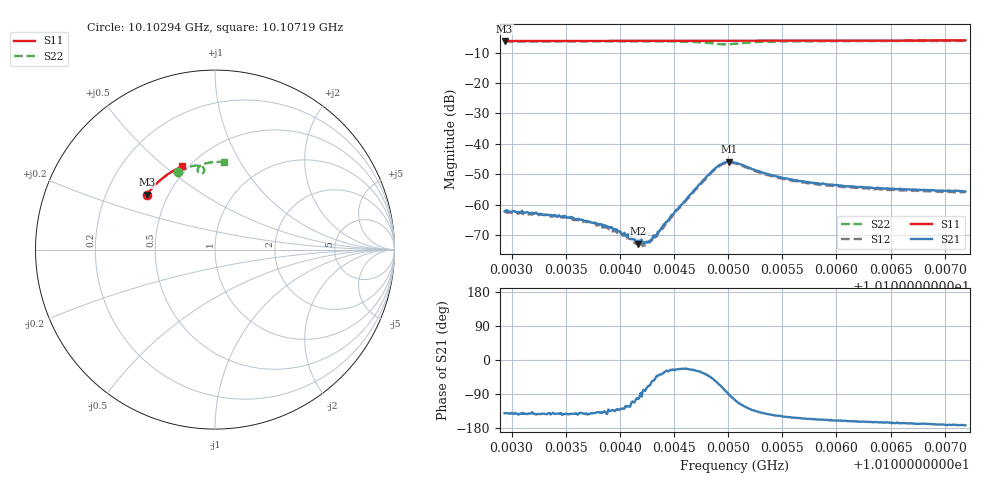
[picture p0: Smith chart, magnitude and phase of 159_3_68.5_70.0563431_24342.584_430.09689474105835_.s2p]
#  HZ  S  RI  R  50.00
! Rohde & Schwarz Vector Network Analyzer
! Rohde-Schwarz,ZNB20-2Port,1311601062101988,3.16
! Created: UTC 3/20/2024, 5:10:52 PM
! freq[Hz]  re:S11  im:S11  re:S21  im:S21  re:S12  im:S12  re:S22  im:S22
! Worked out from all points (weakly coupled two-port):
!   401 points, 10.10294 GHz to 10.10719 GHz, reference 50 ohm
!   highest |S21| = -45.86 dB at 10.10501 GHz (marker M1); lowest = -72.7 dB at 10.10417 GHz (marker M2)
!   lowest |S11| = -6.2 dB at 10.10294 GHz (marker M3), VSWR 2.90, Z = 19.1 + j15.3 ohm
!   |S11| at or under -10 dB: nowhere
!   |S22| runs from -7.3 to -6.2 dB; largest |S21 - S12| = 0.00054
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1.0102936e10  -0.3802 0.3054  -0.000604 -0.0005  -0.000537 -0.000551  -0.2037 0.4346
1.0103404e10  -0.3628 0.328  -0.00054 -0.000411  -0.000466 -0.000443  -0.1753 0.4482
1.0103649e10  -0.3532 0.3393  -0.00044 -0.00037  -0.000366 -0.000363  -0.1599 0.4544
1.0103744e10  -0.3493 0.3437  -0.000398 -0.000322  -0.00036 -0.000353  -0.1536 0.4567
1.0103904e10  -0.3427 0.3508  -0.000309 -0.000309  -0.000261 -0.000295  -0.1431 0.4605
1.0104074e10  -0.3356 0.3585  -0.000173 -0.00028  -0.000145 -0.000263  -0.1309 0.464
1.0104127e10  -0.3334 0.3607  -0.000101 -0.00025  -8.15e-05 -0.000228  -0.1271 0.465
1.010417e10  -0.3315 0.3625  -5.35e-05 -0.000226  -2.76e-05 -0.000233  -0.124 0.4657
1.0104212e10  -0.3297 0.3644  4.07e-05 -0.000234  3.77e-05 -0.000207  -0.1206 0.4664
1.0104234e10  -0.3286 0.3653  3.53e-05 -0.000237  4.27e-05 -0.00021  -0.1189 0.4668
1.0104276e10  -0.327 0.3671  9.36e-05 -0.000223  0.000133 -0.000223  -0.1156 0.4675
1.0104361e10  -0.3231 0.3705  0.000279 -0.000231  0.000296 -0.000197  -0.1085 0.4684
1.01045e10  -0.3169 0.3764  0.000651 -0.000318  0.000656 -0.000266  -0.096 0.4693
1.010484e10  -0.3015 0.3899  0.00239 -0.00243  0.00249 -0.00214  -0.06 0.4465
1.0104936e10  -0.297 0.3934  0.00162 -0.00439  0.00196 -0.00407  -0.0665 0.4273
1.010501e10  -0.2936 0.3962  -0.000189 -0.00509  0.000272 -0.00489  -0.0835 0.424
1.0105063e10  -0.2911 0.3983  -0.00133 -0.00474  -0.000875 -0.00469  -0.0929 0.4309
1.0105372e10  -0.2766 0.4098  -0.00255 -0.0019  -0.00224 -0.00206  -0.0809 0.469
1.0105776e10  -0.2565 0.4238  -0.00208 -0.000936  -0.00194 -0.00108  -0.0484 0.4815
1.0106074e10  -0.2412 0.4335  -0.0019 -0.000683  -0.0018 -0.000826  -0.027 0.4855
1.0106488e10  -0.2194 0.446  -0.00179 -0.000468  -0.00165 -0.000597  0.0015 0.488
1.010719e10  -0.1812 0.4644  -0.00165 -0.000222  -0.00157 -0.000381  0.0479 0.4879
